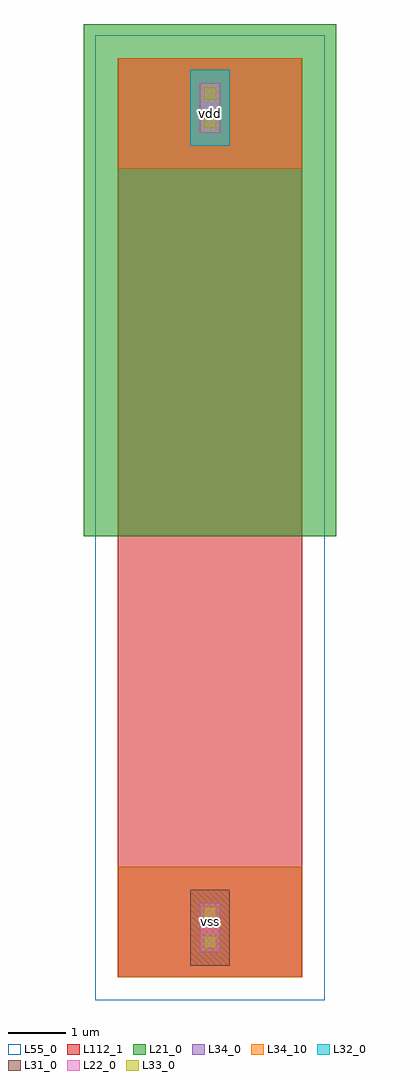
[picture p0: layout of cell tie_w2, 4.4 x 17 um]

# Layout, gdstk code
import gdstk
lib = gdstk.Library(unit=1e-6, precision=1e-09)
def R(c, l, rs):  # rectangles x0, y0, x1, y1
    for r in rs: c.add(gdstk.rectangle(r[:2], r[2:], *l))
L21_0 = (21, 0)
L22_0 = (22, 0)
L31_0 = (31, 0)
L32_0 = (32, 0)
L33_0 = (33, 0)
L34_0 = (34, 0)
L34_10 = (34, 10)
L55_0 = (55, 0)
L112_1 = (112, 1)

tie_w2 = lib.new_cell('tie_w2')
R(tie_w2, L21_0, [(-0.6,7.68,3.8,16.6)])
R(tie_w2, L22_0, [(1.42,0.43,1.78,1.29), (1.42,14.71,1.78,15.57)])
R(tie_w2, L31_0, [(1.26,0.2,1.94,1.52)])
R(tie_w2, L32_0, [(1.26,14.48,1.94,15.8)])
R(tie_w2, L33_0, [(1.49,0.5,1.71,0.72), (1.49,1,1.71,1.22), (1.49,14.78,1.71,15), (1.49,15.28,1.71,15.5)])
R(tie_w2, L34_0, [(0,0,3.2,1.92), (0,14.08,3.2,16)])
R(tie_w2, L34_10, [(0,0,3.2,1.92), (0,14.08,3.2,16)])
R(tie_w2, L55_0, [(-0.4,-0.4,3.6,16.4)])
R(tie_w2, L112_1, [(-0.005,-0.005,3.205,16.005)])
tie_w2.add(gdstk.Label('vdd', (1.6,15.04), layer=34, texttype=10))
tie_w2.add(gdstk.Label('vss', (1.6,0.96), layer=34, texttype=10))

lib.write_gds('tie_w2.gds')
